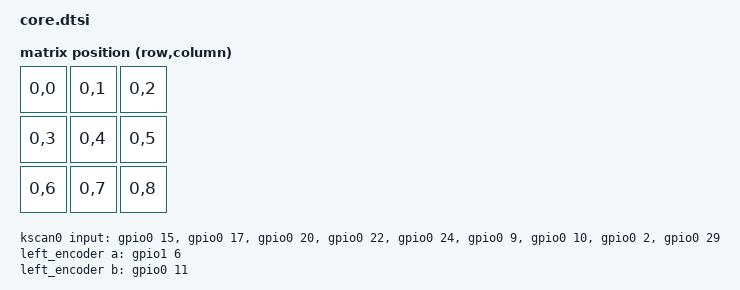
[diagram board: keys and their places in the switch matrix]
#include <dt-bindings/zmk/matrix_transform.h>
#include <physical_layouts.dtsi>

/ {
    chosen {
        zmk,kscan = &kscan0;
        zmk,matrix-transform = &default_transform;
        zmk,physical-layout = &physical_layout0;
    };

    // Key scan wiring (direct GPIO)
    kscan0: kscan {
        compatible = "zmk,kscan-gpio-direct";
        input-gpios =
            <&gpio0 15 (GPIO_ACTIVE_HIGH | GPIO_PULL_DOWN)>, // Key 0
            <&gpio0 17 (GPIO_ACTIVE_HIGH | GPIO_PULL_DOWN)>, // Key 1
            <&gpio0 20 (GPIO_ACTIVE_HIGH | GPIO_PULL_DOWN)>, // Key 2
            <&gpio0 22 (GPIO_ACTIVE_HIGH | GPIO_PULL_DOWN)>, // Key 3
            <&gpio0 24 (GPIO_ACTIVE_HIGH | GPIO_PULL_DOWN)>, // Key 4
            <&gpio0  9 (GPIO_ACTIVE_HIGH | GPIO_PULL_DOWN)>, // Key 5
            <&gpio0 10 (GPIO_ACTIVE_HIGH | GPIO_PULL_DOWN)>, // Key 6
            <&gpio0  2 (GPIO_ACTIVE_HIGH | GPIO_PULL_DOWN)>, // Key 7
            <&gpio0 29 (GPIO_ACTIVE_HIGH | GPIO_PULL_DOWN)>; // Key 8
    };

    // Matrix transform (1 row × 9 columns)
    default_transform: keymap_transform0 {
        compatible = "zmk,matrix-transform";
        columns = <9>;
        rows = <1>;
        map = <
            RC(0,0) RC(0,1) RC(0,2)
            RC(0,3) RC(0,4) RC(0,5)
            RC(0,6) RC(0,7) RC(0,8)
        >;
    };

    // Physical layout for ZMK Studio
    physical_layout0: physical_layout_0 {
        compatible = "zmk,physical-layout";
        display-name = "Core Layout";
        kscan = <&kscan0>;
        transform = <&default_transform>;

        keys  //                     w    h    x    y   rot   rx   ry
            = <&key_physical_attrs 100 100    0    0     0    0    0> // Key 0
            , <&key_physical_attrs 100 100  100    0     0    0    0> // Key 1
            , <&key_physical_attrs 100 100  200    0     0    0    0> // Key 2
            , <&key_physical_attrs 100 100    0  100     0    0    0> // Key 3
            , <&key_physical_attrs 100 100  100  100     0    0    0> // Key 4
            , <&key_physical_attrs 100 100  200  100     0    0    0> // Key 5
            , <&key_physical_attrs 100 100    0  200     0    0    0> // Key 6
            , <&key_physical_attrs 100 100  100  200     0    0    0> // Key 7
            , <&key_physical_attrs 100 100  200  200     0    0    0> // Key 8
            ;
    };

    // Left rotary encoder (EC11)
    left_encoder: encoder_left {
        compatible = "alps,ec11";
        a-gpios = <&gpio1  6 (GPIO_ACTIVE_HIGH | GPIO_PULL_UP)>; // Encoder A
        b-gpios = <&gpio0 11 (GPIO_ACTIVE_HIGH | GPIO_PULL_UP)>; // Encoder B
        steps = <80>;  // pulses per revolution
        status = "okay";
    };

    // Register encoder as sensor
    sensors {
        compatible = "zmk,keymap-sensors";
        sensors = <&left_encoder>;
    };
};
